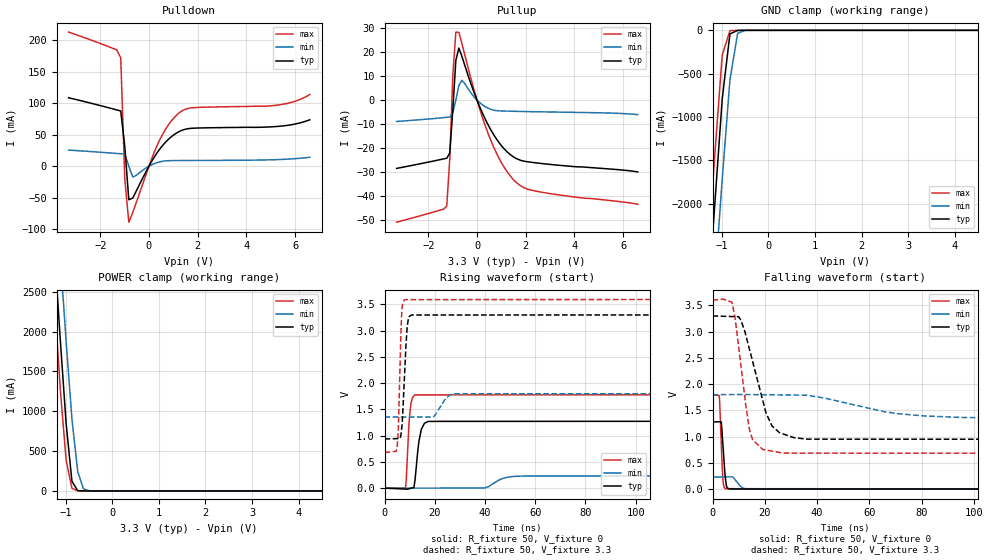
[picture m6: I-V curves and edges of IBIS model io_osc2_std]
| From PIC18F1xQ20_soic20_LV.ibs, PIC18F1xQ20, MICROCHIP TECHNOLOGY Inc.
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[Model] io_osc2_std
Model_type I/O
Vinl  =  0.8
Vinh  =  2
| Capacitance   typ   min   max
C_comp   3.087383502547799e-12   3.082834744838809e-12   3.237447254935692e-12
[Model Spec]
| Subparameter   typ   min   max
Vinl   1.5   0.81   1.65
Vinh   3.6   1.89   3.85
Vmeas   2.5   1.35   2.75
| Variables   typ   min   max
[GND Clamp Reference]   0   0   0
[POWER Clamp Reference]   3.3   1.8   3.6
[Pulldown Reference]   0   0   0
[Pullup Reference]   3.3   1.8   3.6
[Temperature Range]   25   125   -40
[Voltage Range]   3.3   1.8   3.6
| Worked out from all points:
|   slope of the pulldown table from 0 to 0.495 V, typ, clamps not added: 16.7 ohm
|   slope of the pullup table from 0 to 0.495 V, typ, clamps not added: 44.8 ohm
|   GND clamp passes 1 mA (typ) near -0.66 V on its own axis
|   POWER clamp passes 1 mA (typ) near -0.65 V on its own axis
|   falling waveform, R_fixture 50, V_fixture 0: 20-80 % time 1.09ns typ, 2.41ns min, 862ps max; typ from 1.28 V to 0 V
|   falling waveform, R_fixture 50, V_fixture 3.3: 20-80 % time 7.58ns typ, 25.5ns min, 4.49ns max; typ from 3.3 V to 0.936 V
|   rising waveform, R_fixture 50, V_fixture 0: 20-80 % time 1.9ns typ, 5.26ns min, 1.23ns max; typ from 0 V to 1.28 V
|   rising waveform, R_fixture 50, V_fixture 3.3: 20-80 % time 1.44ns typ, 3.74ns min, 993ps max; typ from 0.936 V to 3.3 V
[GND Clamp]
| Voltage   I(typ)   I(min)   I(max)
-3.3V     -18.75A    -18.89A    -18.72A
-1.324V   -3.34A     -4.181A    -2.808A
-1.159V   -2.049A    -2.949A    -1.475A
-993.1mV  -789mA     -1.717A    -285.7mA
-827.6mV  -41.37mA   -570.8mA   -3.723mA
-662.1mV  -805.7uA   -33.96mA   -569.7uA
-496.6mV  -22.64uA   -517.6uA   -6.357uA
6.6V      0A         0A         0A
[POWER Clamp]
| Voltage   I(typ)   I(min)   I(max)
-3.3V     21.36A     21.68A     21.21A
-1.366V   4.096A     5.059A     3.499A
-1.241V   2.988A     3.993A     2.363A
-1.117V   1.881A     2.926A     1.262A
-993.1mV  841.2mA    1.869A     382.8mA
-869mV    120.4mA    901.8mA    32.88mA
-744.8mV  3.243mA    244.6mA    1.554mA
-620.7mV  376.8uA    25.71mA    440.4uA
-496.6mV  29.19uA    1.106mA    49.61uA
6.6V      0A         0A         0A
[Pulldown]
| Voltage   I(typ)   I(min)   I(max)
-3.3V     108.6mA    25.49mA    212.9mA
-1.324V   89.29mA    20.14mA    184.7mA
-1.159V   87.56mA    19.65mA    172mA
-993.1mV  31.31mA    19.13mA    -20.47mA
-827.6mV  -53.48mA   -119uA     -89.02mA
-662.1mV  -50.56mA   -17.42mA   -73.41mA
341.4mV   21.7mA     5.717mA    33.47mA
796.6mV   42.57mA    8.672mA    65.49mA
1.252V    55.15mA    8.913mA    85mA
1.821V    60.27mA    9.023mA    92.84mA
5.286V    63.12mA    10.42mA    97mA
6.6V      73.6mA     14.04mA    113.7mA
[Pullup]
| Voltage   I(typ)   I(min)   I(max)
-3.3V     -28.48mA   -8.872mA   -50.94mA
-1.241V   -24.24mA   -7.149mA   -44.13mA
-1.117V   -22.04mA   -7.014mA   -24.32mA
-993.1mV  -4.111mA   -5.253mA   10.18mA
-869mV    16.62mA    -22.07uA   28.43mA
-744.8mV  21.75mA    6.17mA     28.29mA
-620.7mV  18.28mA    8.308mA    23.71mA
455.2mV   -10.29mA   -3.355mA   -13.89mA
1.024V    -19.27mA   -4.499mA   -26.48mA
1.593V    -24.26mA   -4.657mA   -34.17mA
2.617V    -26.4mA    -4.86mA    -38.35mA
6.6V      -29.94mA   -6.041mA   -43.47mA
[Ramp]
dV/dt_r   0.768806/1.89825n  0.139528/5.2612n  1.07649/1.23295n
dV/dt_f   1.41822/7.57671n  0.268061/25.4875n  1.75307/4.48613n
R_load = 50
[Falling Waveform]
R_fixture = 50
V_fixture = 0
V_fixture_min = 0
V_fixture_max = 0
| Time   V(typ)   V(min)   V(max)
0s        1.281V     232.5mV    1.794V
2.542ns   1.284V     233.1mV    1.784V
2.7ns     1.284V     233.2mV    1.665V
3.319ns   1.269V     233.3mV    867.5mV
3.918ns   871.3mV    233.5mV    204.7mV
4.13ns    715.6mV    233.5mV    93.09mV
4.92ns    197.8mV    233.7mV    8.627mV
5.607ns   22.2mV     233.9mV    8.616mV
13.07ns   3.004mV    2.189mV    8.501mV
562.5ns   45.91nV    17.62nV    25.11nV
[Falling Waveform]
R_fixture = 50
V_fixture = 3.3
V_fixture_min = 1.8
V_fixture_max = 3.6
| Time   V(typ)   V(min)   V(max)
0s        3.3V       1.8V       3.6V
7.417ns   3.288V     1.802V     3.56V
8.554ns   3.286V     1.803V     3.284V
10.81ns   3.221V     1.803V     2.368V
14.02ns   2.683V     1.802V     1.154V
15.28ns   2.441V     1.801V     945.3mV
20.43ns   1.454V     1.798V     745.6mV
27.04ns   1.051V     1.795V     687mV
95.35ns   951mV      1.366V     685.8mV
562.5ns   936.3mV    1.353V     678.2mV
[Rising Waveform]
R_fixture = 50
V_fixture = 0
V_fixture_min = 0
V_fixture_max = 0
| Time   V(typ)   V(min)   V(max)
0s        -67.84pV   6.562nV    -77.82pV
8.348ns   -17.46mV   485uV      5.838mV
10.1ns    -7.173mV   586.9uV    1.454V
11.98ns   105.2mV    695.8uV    1.775V
13.7ns    897.2mV    796uV      1.775V
14.65ns   1.122V     851uV      1.775V
17.34ns   1.271V     1.007mV    1.775V
39.81ns   1.271V     2.313mV    1.776V
57.38ns   1.272V     232.2mV    1.777V
562.5ns   1.281V     232.5mV    1.794V
[Rising Waveform]
R_fixture = 50
V_fixture = 3.3
V_fixture_min = 1.8
V_fixture_max = 3.6
| Time   V(typ)   V(min)   V(max)
0s        936.3mV    1.353V     678.2mV
5.053ns   943.4mV    1.353V     810.2mV
5.562ns   944.1mV    1.353V     1.239V
6.717ns   1.094V     1.353V     3.23V
7.856ns   2.048V     1.353V     3.589V
9.011ns   3.075V     1.353V     3.589V
10.7ns    3.297V     1.353V     3.589V
19.48ns   3.297V     1.361V     3.589V
27.73ns   3.297V     1.797V     3.59V
562.5ns   3.3V       1.8V       3.6V
